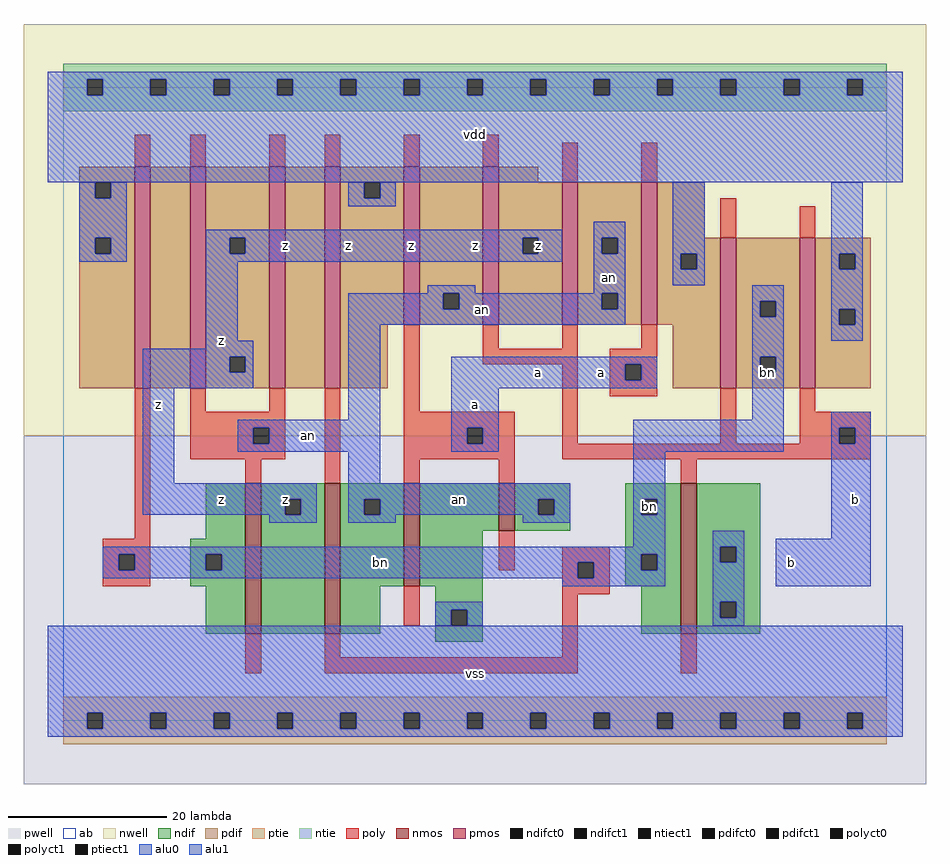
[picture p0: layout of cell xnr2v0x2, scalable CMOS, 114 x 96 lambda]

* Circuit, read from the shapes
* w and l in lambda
.subckt xnr2v0x2 a an b bn vdd vss z
M1 z an bn vss nfet w=19 l=2
M2 an bn z vss nfet w=19 l=2
M3 vss a an vss nfet w=13 l=2
M4 an a vss vss nfet w=6 l=2
M5 vss b bn vss nfet w=19 l=2
M6 n1 bn vdd vdd pfet w=28 l=2
M7 z an n1 vdd pfet w=28 l=2
M8 n2 an z vdd pfet w=28 l=2
M9 vdd bn n2 vdd pfet w=28 l=2
M10 an a vdd vdd pfet w=20 l=2
M11 z b an vdd pfet w=20 l=2
M12 an b z vdd pfet w=18 l=2
M13 vdd a an vdd pfet w=18 l=2
M14 bn b vdd vdd pfet w=19 l=2 m=2
.ends

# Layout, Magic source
magic
tech scmos
<< ab >>
rect 0 0 104 80
<< nwell >>
rect -5 36 109 88
<< pwell >>
rect -5 -8 109 36
<< poly >>
rect 9 70 11 74
rect 16 70 18 74
rect 26 70 28 74
rect 33 70 35 74
rect 43 70 45 74
rect 53 70 55 74
rect 63 68 65 73
rect 73 68 75 73
rect 83 61 85 66
rect 93 61 95 65
rect 9 23 11 42
rect 16 39 18 42
rect 26 39 28 42
rect 16 37 28 39
rect 16 35 24 37
rect 26 35 28 37
rect 16 33 28 35
rect 23 30 25 33
rect 33 30 35 42
rect 43 39 45 50
rect 53 47 55 50
rect 63 47 65 50
rect 73 47 75 50
rect 53 45 65 47
rect 43 37 57 39
rect 43 35 51 37
rect 53 35 57 37
rect 43 33 57 35
rect 63 35 65 45
rect 69 45 75 47
rect 69 43 71 45
rect 73 43 75 45
rect 69 41 75 43
rect 83 35 85 42
rect 93 39 95 42
rect 93 37 102 39
rect 93 35 98 37
rect 100 35 102 37
rect 63 33 102 35
rect 43 30 45 33
rect 55 30 57 33
rect 78 30 80 33
rect 5 21 11 23
rect 5 19 7 21
rect 9 19 11 21
rect 5 17 11 19
rect 55 19 57 24
rect 63 20 69 22
rect 43 12 45 17
rect 23 6 25 11
rect 33 8 35 11
rect 63 18 65 20
rect 67 18 69 20
rect 63 16 69 18
rect 63 8 65 16
rect 33 6 65 8
rect 78 6 80 11
<< ndif >>
rect 18 23 23 30
rect 16 21 23 23
rect 16 19 18 21
rect 20 19 23 21
rect 16 17 23 19
rect 18 11 23 17
rect 25 28 33 30
rect 25 26 28 28
rect 30 26 33 28
rect 25 11 33 26
rect 35 28 43 30
rect 35 26 38 28
rect 40 26 43 28
rect 35 17 43 26
rect 45 24 55 30
rect 57 28 64 30
rect 57 26 60 28
rect 62 26 64 28
rect 57 24 64 26
rect 71 28 78 30
rect 71 26 73 28
rect 75 26 78 28
rect 45 17 53 24
rect 35 11 40 17
rect 47 14 53 17
rect 47 12 49 14
rect 51 12 53 14
rect 47 10 53 12
rect 71 21 78 26
rect 71 19 73 21
rect 75 19 78 21
rect 71 17 78 19
rect 73 11 78 17
rect 80 22 88 30
rect 80 20 83 22
rect 85 20 88 22
rect 80 15 88 20
rect 80 13 83 15
rect 85 13 88 15
rect 80 11 88 13
<< pdif >>
rect 2 68 9 70
rect 2 66 4 68
rect 6 66 9 68
rect 2 61 9 66
rect 2 59 4 61
rect 6 59 9 61
rect 2 42 9 59
rect 11 42 16 70
rect 18 61 26 70
rect 18 59 21 61
rect 23 59 26 61
rect 18 46 26 59
rect 18 44 21 46
rect 23 44 26 46
rect 18 42 26 44
rect 28 42 33 70
rect 35 68 43 70
rect 35 66 38 68
rect 40 66 43 68
rect 35 50 43 66
rect 45 54 53 70
rect 45 52 48 54
rect 50 52 53 54
rect 45 50 53 52
rect 55 68 60 70
rect 55 61 63 68
rect 55 59 58 61
rect 60 59 63 61
rect 55 50 63 59
rect 65 61 73 68
rect 65 59 68 61
rect 70 59 73 61
rect 65 54 73 59
rect 65 52 68 54
rect 70 52 73 54
rect 65 50 73 52
rect 75 61 81 68
rect 75 59 83 61
rect 75 57 78 59
rect 80 57 83 59
rect 75 50 83 57
rect 35 42 41 50
rect 77 42 83 50
rect 85 53 93 61
rect 85 51 88 53
rect 90 51 93 53
rect 85 46 93 51
rect 85 44 88 46
rect 90 44 93 46
rect 85 42 93 44
rect 95 59 102 61
rect 95 57 98 59
rect 100 57 102 59
rect 95 52 102 57
rect 95 50 98 52
rect 100 50 102 52
rect 95 42 102 50
<< alu1 >>
rect -2 81 106 82
rect -2 79 3 81
rect 5 79 11 81
rect 13 79 19 81
rect 21 79 27 81
rect 29 79 35 81
rect 37 79 43 81
rect 45 79 51 81
rect 53 79 59 81
rect 61 79 67 81
rect 69 79 75 81
rect 77 79 83 81
rect 85 79 91 81
rect 93 79 99 81
rect 101 79 106 81
rect -2 68 106 79
rect 18 61 63 62
rect 18 59 21 61
rect 23 59 58 61
rect 60 59 63 61
rect 18 58 63 59
rect 18 48 22 58
rect 18 47 24 48
rect 10 46 24 47
rect 10 44 21 46
rect 23 44 24 46
rect 10 42 24 44
rect 10 30 14 42
rect 49 45 75 46
rect 49 43 71 45
rect 73 43 75 45
rect 49 42 75 43
rect 49 37 55 42
rect 49 35 51 37
rect 53 35 55 37
rect 49 34 55 35
rect 97 37 102 39
rect 97 35 98 37
rect 100 35 102 37
rect 10 28 32 30
rect 10 26 28 28
rect 30 26 32 28
rect 26 25 32 26
rect 97 23 102 35
rect 90 17 102 23
rect -2 1 106 12
rect -2 -1 3 1
rect 5 -1 11 1
rect 13 -1 19 1
rect 21 -1 27 1
rect 29 -1 35 1
rect 37 -1 43 1
rect 45 -1 51 1
rect 53 -1 59 1
rect 61 -1 67 1
rect 69 -1 75 1
rect 77 -1 83 1
rect 85 -1 91 1
rect 93 -1 99 1
rect 101 -1 106 1
rect -2 -2 106 -1
<< ptie >>
rect 0 1 104 3
rect 0 -1 3 1
rect 5 -1 11 1
rect 13 -1 19 1
rect 21 -1 27 1
rect 29 -1 35 1
rect 37 -1 43 1
rect 45 -1 51 1
rect 53 -1 59 1
rect 61 -1 67 1
rect 69 -1 75 1
rect 77 -1 83 1
rect 85 -1 91 1
rect 93 -1 99 1
rect 101 -1 104 1
rect 0 -3 104 -1
<< ntie >>
rect 0 81 104 83
rect 0 79 3 81
rect 5 79 11 81
rect 13 79 19 81
rect 21 79 27 81
rect 29 79 35 81
rect 37 79 43 81
rect 45 79 51 81
rect 53 79 59 81
rect 61 79 67 81
rect 69 79 75 81
rect 77 79 83 81
rect 85 79 91 81
rect 93 79 99 81
rect 101 79 104 81
rect 0 77 104 79
<< nmos >>
rect 23 11 25 30
rect 33 11 35 30
rect 43 17 45 30
rect 55 24 57 30
rect 78 11 80 30
<< pmos >>
rect 9 42 11 70
rect 16 42 18 70
rect 26 42 28 70
rect 33 42 35 70
rect 43 50 45 70
rect 53 50 55 70
rect 63 50 65 68
rect 73 50 75 68
rect 83 42 85 61
rect 93 42 95 61
<< polyct0 >>
rect 24 35 26 37
rect 7 19 9 21
rect 65 18 67 20
<< polyct1 >>
rect 51 35 53 37
rect 71 43 73 45
rect 98 35 100 37
<< ndifct0 >>
rect 18 19 20 21
rect 38 26 40 28
rect 60 26 62 28
rect 73 26 75 28
rect 49 12 51 14
rect 73 19 75 21
rect 83 20 85 22
rect 83 13 85 15
<< ndifct1 >>
rect 28 26 30 28
<< ntiect1 >>
rect 3 79 5 81
rect 11 79 13 81
rect 19 79 21 81
rect 27 79 29 81
rect 35 79 37 81
rect 43 79 45 81
rect 51 79 53 81
rect 59 79 61 81
rect 67 79 69 81
rect 75 79 77 81
rect 83 79 85 81
rect 91 79 93 81
rect 99 79 101 81
<< ptiect1 >>
rect 3 -1 5 1
rect 11 -1 13 1
rect 19 -1 21 1
rect 27 -1 29 1
rect 35 -1 37 1
rect 43 -1 45 1
rect 51 -1 53 1
rect 59 -1 61 1
rect 67 -1 69 1
rect 75 -1 77 1
rect 83 -1 85 1
rect 91 -1 93 1
rect 99 -1 101 1
<< pdifct0 >>
rect 4 66 6 68
rect 4 59 6 61
rect 38 66 40 68
rect 48 52 50 54
rect 68 59 70 61
rect 68 52 70 54
rect 78 57 80 59
rect 88 51 90 53
rect 88 44 90 46
rect 98 57 100 59
rect 98 50 100 52
<< pdifct1 >>
rect 21 59 23 61
rect 21 44 23 46
rect 58 59 60 61
<< alu0 >>
rect 2 66 4 68
rect 6 66 8 68
rect 2 61 8 66
rect 36 66 38 68
rect 40 66 42 68
rect 36 65 42 66
rect 2 59 4 61
rect 6 59 8 61
rect 2 58 8 59
rect 67 61 71 63
rect 67 59 68 61
rect 70 59 71 61
rect 46 54 52 55
rect 67 54 71 59
rect 77 59 81 68
rect 77 57 78 59
rect 80 57 81 59
rect 77 55 81 57
rect 97 59 101 68
rect 97 57 98 59
rect 100 57 101 59
rect 36 52 48 54
rect 50 52 68 54
rect 70 52 71 54
rect 36 50 71 52
rect 87 53 91 55
rect 87 51 88 53
rect 90 51 91 53
rect 36 38 40 50
rect 87 46 91 51
rect 97 52 101 57
rect 97 50 98 52
rect 100 50 101 52
rect 97 48 101 50
rect 22 37 40 38
rect 22 35 24 37
rect 26 35 40 37
rect 22 34 40 35
rect 87 44 88 46
rect 90 44 91 46
rect 87 38 91 44
rect 72 34 91 38
rect 36 30 40 34
rect 36 28 64 30
rect 36 26 38 28
rect 40 26 60 28
rect 62 26 64 28
rect 36 25 42 26
rect 58 25 64 26
rect 72 28 76 34
rect 72 26 73 28
rect 75 26 76 28
rect 72 22 76 26
rect 5 21 76 22
rect 5 19 7 21
rect 9 19 18 21
rect 20 20 73 21
rect 20 19 65 20
rect 5 18 65 19
rect 67 19 73 20
rect 75 19 76 21
rect 67 18 76 19
rect 63 17 76 18
rect 82 22 86 24
rect 82 20 83 22
rect 85 20 86 22
rect 82 15 86 20
rect 47 14 53 15
rect 47 12 49 14
rect 51 12 53 14
rect 82 13 83 15
rect 85 13 86 15
rect 82 12 86 13
<< labels >>
rlabel alu0 31 36 31 36 6 an
rlabel ndifct0 74 27 74 27 6 bn
rlabel alu0 40 20 40 20 6 bn
rlabel alu0 50 28 50 28 6 an
rlabel alu0 53 52 53 52 6 an
rlabel alu0 69 56 69 56 6 an
rlabel alu0 89 44 89 44 6 bn
rlabel alu1 20 28 20 28 6 z
rlabel alu1 12 40 12 40 6 z
rlabel alu1 20 48 20 48 6 z
rlabel alu1 28 28 28 28 6 z
rlabel alu1 44 60 44 60 6 z
rlabel alu1 36 60 36 60 6 z
rlabel alu1 28 60 28 60 6 z
rlabel alu1 52 6 52 6 6 vss
rlabel alu1 68 44 68 44 6 a
rlabel alu1 60 44 60 44 6 a
rlabel alu1 52 40 52 40 6 a
rlabel alu1 60 60 60 60 6 z
rlabel alu1 52 60 52 60 6 z
rlabel alu1 52 74 52 74 6 vdd
rlabel alu1 92 20 92 20 6 b
rlabel alu1 100 28 100 28 6 b
<< end >>
